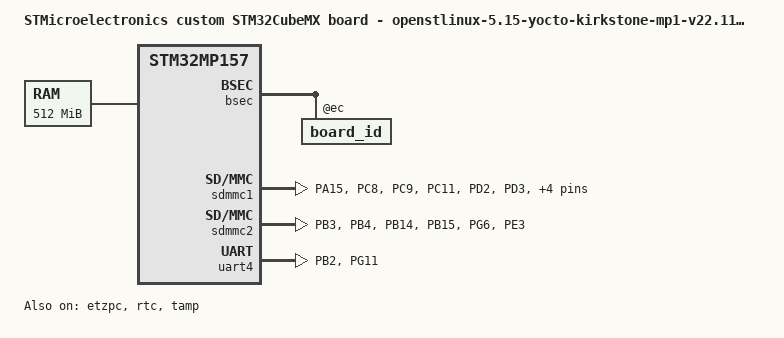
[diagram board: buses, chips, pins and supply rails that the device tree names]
/* SPDX-License-Identifier: (GPL-2.0+ OR BSD-3-Clause) */
/*
 * Copyright (C) STMicroelectronics 2022 - All Rights Reserved
 * Author: STM32CubeMX code generation for STMicroelectronics.
 */

/* For more information on Device Tree configuration, please refer to
 * https://wiki.st.com/stm32mpu/wiki/Category:Device_tree_configuration
 */

/dts-v1/;
#include <dt-bindings/pinctrl/stm32-pinfunc.h>
#include <dt-bindings/clock/stm32mp1-clksrc.h>
#include <dt-bindings/soc/st,stm32-etzpc.h>
#include "stm32mp15-mx.dtsi"

#include "stm32mp157.dtsi"
#include "stm32mp15xa.dtsi"
#include "stm32mp15xxab-pinctrl.dtsi"
#include "stm32mp15-ddr.dtsi"

/* USER CODE BEGIN includes */

#include <dt-bindings/power/stm32mp1-power.h>

/* USER CODE END includes */

/ {
	model = "STMicroelectronics custom STM32CubeMX board - openstlinux-5.15-yocto-kirkstone-mp1-v22.11.23";
	compatible = "st,stm32mp157a-rgb-ph800480t013-emmc-mx", "st,stm32mp157";

	memory@c0000000 {
		device_type = "memory";
		reg = <0xc0000000 0x20000000>;

		/* USER CODE BEGIN memory */
		/* USER CODE END memory */
	};

	/* USER CODE BEGIN root */

        aliases {
                serial0 = &uart4;
		mmc0 = &sdmmc1;
        };

        chosen {
                stdout-path = "serial0:115200n8";
        };

	/* USER CODE END root */

	clocks {
		/* USER CODE BEGIN clocks */
		/* USER CODE END clocks */

		clk_hsi: clk-hsi {
			clock-frequency = <64000000>;

			/* USER CODE BEGIN clk_hsi */
			/* USER CODE END clk_hsi */
		};
		clk_lse: clk-lse {
			clock-frequency = <32768>;
			st,drive = < LSEDRV_MEDIUM_HIGH >;

			/* USER CODE BEGIN clk_lse */
			/* USER CODE END clk_lse */
		};
		clk_hse: clk-hse {
			clock-frequency = <24000000>;
			st,digbypass;

			/* USER CODE BEGIN clk_hse */
			/* USER CODE END clk_hse */
		};
	};

}; /*root*/

&pinctrl {
	rtc_pins_mx: rtc_mx-0 {
		pins {
			pinmux = <STM32_PINMUX('C', 13, ANALOG)>; /* RTC_LSCO */
		};
	};

	sdmmc1_pins_mx: sdmmc1_mx-0 {
		pins1 {
			pinmux = <STM32_PINMUX('A', 15, AF11)>, /* SDMMC1_D5 */
					 <STM32_PINMUX('C', 8, AF12)>, /* SDMMC1_D0 */
					 <STM32_PINMUX('C', 9, AF12)>, /* SDMMC1_D1 */
					 <STM32_PINMUX('C', 11, AF12)>, /* SDMMC1_D3 */
					 <STM32_PINMUX('D', 2, AF12)>, /* SDMMC1_CMD */
					 <STM32_PINMUX('D', 3, AF11)>, /* SDMMC1_D7 */
					 <STM32_PINMUX('E', 4, AF11)>, /* SDMMC1_D4 */
					 <STM32_PINMUX('E', 5, AF11)>, /* SDMMC1_D6 */
					 <STM32_PINMUX('E', 6, AF8)>; /* SDMMC1_D2 */
			bias-pull-up;
			drive-push-pull;
			slew-rate = <1>;
		};
		pins2 {
			pinmux = <STM32_PINMUX('C', 12, AF12)>; /* SDMMC1_CK */
			bias-pull-up;
			drive-push-pull;
			slew-rate = <3>;
		};
	};

	sdmmc2_pins_mx: sdmmc2_mx-0 {
		pins1 {
			pinmux = <STM32_PINMUX('B', 3, AF9)>, /* SDMMC2_D2 */
					 <STM32_PINMUX('B', 4, AF9)>, /* SDMMC2_D3 */
					 <STM32_PINMUX('B', 14, AF9)>, /* SDMMC2_D0 */
					 <STM32_PINMUX('B', 15, AF9)>, /* SDMMC2_D1 */
					 <STM32_PINMUX('G', 6, AF10)>; /* SDMMC2_CMD */
			bias-pull-up;
			drive-push-pull;
			slew-rate = <1>;
		};
		pins2 {
			pinmux = <STM32_PINMUX('E', 3, AF9)>; /* SDMMC2_CK */
			bias-pull-up;
			drive-push-pull;
			slew-rate = <3>;
		};
	};

	uart4_pins_mx: uart4_mx-0 {
		pins1 {
			pinmux = <STM32_PINMUX('B', 2, AF8)>; /* UART4_RX */
			bias-disable;
		};
		pins2 {
			pinmux = <STM32_PINMUX('G', 11, AF6)>; /* UART4_TX */
			bias-disable;
			drive-push-pull;
			slew-rate = <0>;
		};
	};

	/* USER CODE BEGIN pinctrl */
	/* USER CODE END pinctrl */
};

&pinctrl_z {
	/* USER CODE BEGIN pinctrl_z */
	/* USER CODE END pinctrl_z */
};

&bsec{
	status = "okay";

	/* USER CODE BEGIN bsec */

        board_id: board_id@ec {
                reg = <0xec 0x4>;
                st,non-secure-otp;
        };

	/* USER CODE END bsec */
};

&etzpc{
	status = "okay";
	st,decprot = <
	/*"NS_R S_W" peripherals*/
	DECPROT(STM32MP1_ETZPC_DDRCTRL_ID, DECPROT_NS_R_S_W, DECPROT_LOCK)
	DECPROT(STM32MP1_ETZPC_DDRPHYC_ID, DECPROT_NS_R_S_W, DECPROT_LOCK)
	/*"Non Secured" peripherals*/
	DECPROT(STM32MP1_ETZPC_DMA1_ID, DECPROT_NS_RW, DECPROT_UNLOCK)
	DECPROT(STM32MP1_ETZPC_DMAMUX_ID, DECPROT_NS_RW, DECPROT_UNLOCK)
	DECPROT(STM32MP1_ETZPC_ETH_ID, DECPROT_NS_RW, DECPROT_UNLOCK)
	DECPROT(STM32MP1_ETZPC_I2C4_ID, DECPROT_NS_RW, DECPROT_UNLOCK)
	DECPROT(STM32MP1_ETZPC_SDMMC3_ID, DECPROT_NS_RW, DECPROT_UNLOCK)
	DECPROT(STM32MP1_ETZPC_DLYBSD3_ID, DECPROT_NS_RW, DECPROT_UNLOCK)
	DECPROT(STM32MP1_ETZPC_TIM1_ID, DECPROT_NS_RW, DECPROT_UNLOCK)
	DECPROT(STM32MP1_ETZPC_UART4_ID, DECPROT_NS_RW, DECPROT_UNLOCK)
	DECPROT(STM32MP1_ETZPC_UART7_ID, DECPROT_NS_RW, DECPROT_UNLOCK)
	DECPROT(STM32MP1_ETZPC_OTG_ID, DECPROT_NS_RW, DECPROT_UNLOCK)
	/*"Secured" peripherals*/
	DECPROT(STM32MP1_ETZPC_STGENC_ID, DECPROT_S_RW, DECPROT_UNLOCK)
	/*"Mcu Isolation" peripherals*/
	DECPROT(STM32MP1_ETZPC_DMA2_ID, DECPROT_MCU_ISOLATION, DECPROT_UNLOCK)

	/*Restriction: following IDs are not managed  - please to use User-Section if needed:
		  STM32MP1_ETZPC_SRAMx_ID  STM32MP1_ETZPC_RETRAM_ID  STM32MP1_ETZPC_BKPSRAM_ID*/

	/* USER CODE BEGIN etzpc_decprot */
		/*STM32CubeMX generates a basic and standard configuration for ETZPC.
		Additional device configurations can be added here if needed.
		"etzpc" node could be also overloaded in "addons" User-Section.*/
	/* USER CODE END etzpc_decprot */
	>;

	/* USER CODE BEGIN etzpc */
	/* USER CODE END etzpc */
};

&rcc{
	status = "okay";

	/* USER CODE BEGIN rcc */
	/* USER CODE END rcc */

	st,clksrc = <
		CLK_MPU_PLL1P
		CLK_AXI_PLL2P
		CLK_MCU_PLL3P
		CLK_PLL12_HSE
		CLK_PLL3_HSE
		CLK_PLL4_HSE
		CLK_RTC_LSE
		CLK_MCO1_DISABLED
		CLK_MCO2_DISABLED
	>;
	st,clkdiv = <
		0 		/*MPU*/
		0 		/*AXI*/
		0 		/*MCU*/
		1 		/*APB1*/
		1 		/*APB2*/
		1 		/*APB3*/
		1 		/*APB4*/
		2 		/*APB5*/
		23 		/*RTC*/
		0 		/*MCO1*/
		0 		/*MCO2*/
	>;
	st,pkcs = <
		CLK_CKPER_DISABLED
		CLK_ETH_PLL3Q
		CLK_SDMMC12_PLL4P
		CLK_STGEN_HSI
		CLK_USBPHY_HSE
		CLK_SPI2S1_DISABLED
		CLK_SPI2S23_DISABLED
		CLK_SPI45_DISABLED
		CLK_SPI6_DISABLED
		CLK_I2C46_PCLK5
		CLK_SDMMC3_PLL4P
		CLK_USBO_USBPHY
		CLK_ADC_DISABLED
		CLK_CEC_DISABLED
		CLK_I2C12_DISABLED
		CLK_I2C35_DISABLED
		CLK_UART1_DISABLED
		CLK_UART24_PCLK1
		CLK_UART35_DISABLED
		CLK_UART6_DISABLED
		CLK_UART78_PCLK1
		CLK_SPDIF_DISABLED
		CLK_SAI1_DISABLED
		CLK_SAI2_DISABLED
		CLK_SAI3_DISABLED
		CLK_SAI4_DISABLED
		CLK_LPTIM1_DISABLED
		CLK_LPTIM23_DISABLED
		CLK_LPTIM45_DISABLED
	>;
	pll2:st,pll@1 {
		compatible = "st,stm32mp1-pll";
		reg = <1>;
		cfg = < 2 65 1 0 0 PQR(1,1,1) >;
		frac = < 0x1400 >;
	};
	pll3:st,pll@2 {
		compatible = "st,stm32mp1-pll";
		reg = <2>;
		cfg = < 2 49 1 7 31 PQR(1,1,0) >;
	};
	pll4:st,pll@3 {
		compatible = "st,stm32mp1-pll";
		reg = <3>;
		cfg = < 3 98 5 7 5 PQR(1,1,0) >;
	};
};

&rtc{
	pinctrl-names = "default";
	pinctrl-0 = <&rtc_pins_mx>;
	status = "okay";

	/* USER CODE BEGIN rtc */
	/* USER CODE END rtc */
};

&sdmmc1{
	pinctrl-names = "default";
	pinctrl-0 = <&sdmmc1_pins_mx>;
	status = "okay";

	/* USER CODE BEGIN sdmmc1 */
	/* USER CODE END sdmmc1 */
};

&sdmmc2{
	pinctrl-names = "default";
	pinctrl-0 = <&sdmmc2_pins_mx>;
	status = "okay";

	/* USER CODE BEGIN sdmmc2 */
	/* USER CODE END sdmmc2 */
};

&tamp{
	status = "okay";

	/* USER CODE BEGIN tamp */
	/* USER CODE END tamp */
};

&uart4{
	pinctrl-names = "default";
	pinctrl-0 = <&uart4_pins_mx>;
	status = "okay";

	/* USER CODE BEGIN uart4 */

        /delete-property/dmas;
        /delete-property/dma-names;

	/* USER CODE END uart4 */
};

/* USER CODE BEGIN addons */

&pwr_regulators {
        system_suspend_supported_soc_modes = <
                STM32_PM_CSLEEP_RUN
                STM32_PM_CSTOP_ALLOW_LP_STOP
                STM32_PM_CSTOP_ALLOW_STANDBY_DDR_SR
        >;
        system_off_soc_mode = <STM32_PM_CSTOP_ALLOW_STANDBY_DDR_OFF>;
};

/* USER CODE END addons */

